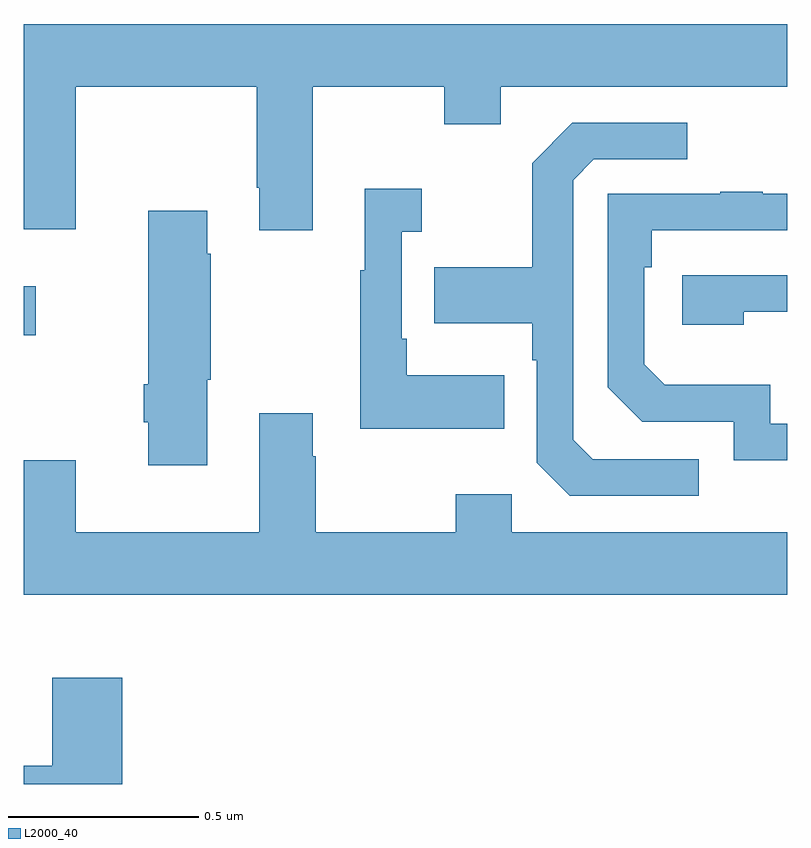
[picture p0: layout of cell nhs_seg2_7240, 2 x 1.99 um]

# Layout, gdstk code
import gdstk
lib = gdstk.Library(unit=1e-6, precision=1e-09)
def R(c, l, rs):  # rectangles x0, y0, x1, y1
    for r in rs: c.add(gdstk.rectangle(r[:2], r[2:], *l))
def P(c, l, *ps):  # polygons
    for p in ps: c.add(gdstk.Polygon(p, *l))
L2000_40 = (2000, 40)

nhs_seg2_7240 = lib.new_cell('nhs_seg2_7240')
R(nhs_seg2_7240, L2000_40, [(201,654.976,201.031,655.105)])
P(nhs_seg2_7240, L2000_40, [(201,655.254),(201.136,655.254),(201.136,655.628),(201.61,655.628),(201.61,655.363),(201.617,655.363),(201.617,655.251),(201.757,655.251),(201.757,655.628),(202.102,655.628),(202.102,655.529),(202.249,655.529),(202.249,655.628),(203,655.628),(203,655.792),(201,655.792)],
  [(202.768,654.651),(202.491,654.651),(202.44,654.702),(202.44,655.383),(202.494,655.437),(202.738,655.437),(202.738,655.533),(202.437,655.533),(202.332,655.427),(202.332,655.155),(202.075,655.155),(202.075,655.007),(202.332,655.007),(202.332,654.911),(202.344,654.911),(202.344,654.642),(202.431,654.555),(202.768,654.555)],
  [(202.259,654.871),(202.003,654.871),(202.003,654.967),(201.99,654.967),(201.99,655.247),(202.042,655.247),(202.042,655.36),(201.893,655.36),(201.893,655.147),(201.882,655.147),(201.882,654.731),(202.259,654.731)],
  [(203,654.744),(202.956,654.744),(202.956,654.847),(202.679,654.847),(202.626,654.9),(202.626,655.154),(202.646,655.154),(202.646,655.251),(203,655.251),(203,655.347),(202.937,655.347),(202.937,655.352),(202.825,655.352),(202.825,655.347),(202.53,655.347),(202.53,654.84),(202.62,654.75),(202.86,654.75),(202.86,654.648),(203,654.648)],
  [(201.481,654.859),(201.489,654.859),(201.489,655.19),(201.481,655.19),(201.481,655.303),(201.326,655.303),(201.326,654.848),(201.314,654.848),(201.314,654.748),(201.326,654.748),(201.326,654.636),(201.481,654.636)],
  [(202.886,655.038),(203,655.038),(203,655.134),(202.725,655.134),(202.725,655.004),(202.886,655.004)],
  [(203,654.46),(202.278,654.46),(202.278,654.559),(202.132,654.559),(202.132,654.46),(201.765,654.46),(201.765,654.659),(201.757,654.659),(201.757,654.772),(201.617,654.772),(201.617,654.46),(201.136,654.46),(201.136,654.649),(201,654.649),(201,654.296),(203,654.296)],
  [(201.257,654.079),(201.074,654.079),(201.074,653.848),(201,653.848),(201,653.8),(201.257,653.8)])

lib.write_gds('nhs_seg2_7240.gds')
